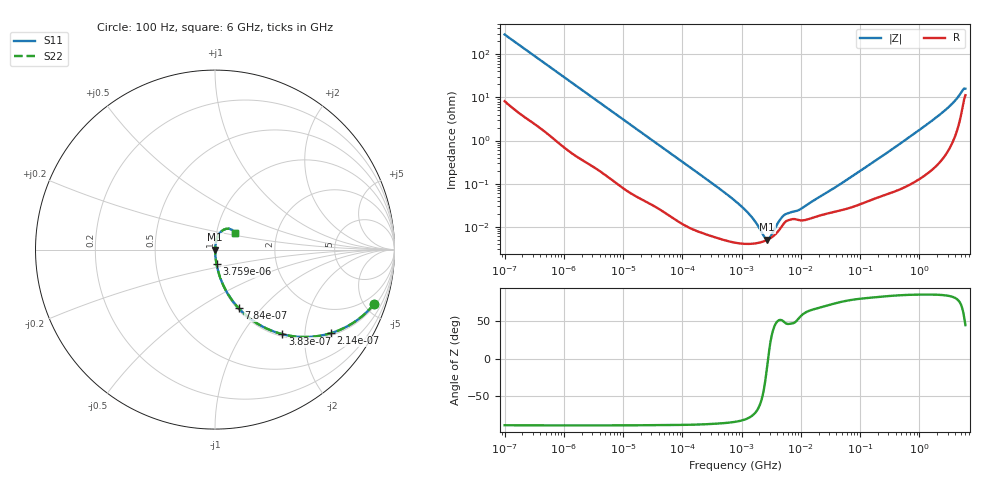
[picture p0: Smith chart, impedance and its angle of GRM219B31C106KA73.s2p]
!Murata Part Number: GRM219B31C106KA73
!These Parameters are Measured in Series Mode Connection
!Data Generated on Mar 30, 2021
!  o--ll--o
!Port1  Port2
!  o------o
!Operation Temp=25[degC], DC Bias Voltage=0[V]
!Freq. Start=100[Hz] Stop=6[GHz] 401[Steps]
# Hz S RI R 50
!Freq.(Hz) S11(Real) S11(Imag) S21(Real) S21(Imag) S12(Real) S12(Imag) S22(Real) S22(Imag)
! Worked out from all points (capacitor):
!   401 points, 100 Hz to 6 GHz, reference 50 ohm
!   read as one part in series: C = 5.49 uF near 109 Hz
!   lowest |Z| = 5.02 mohm at 2.714 MHz (marker M1)
!   series resonance near 2.8 MHz, so ESL is about 590 pH
!   S11 on the Smith chart (normalised r, x): 100 Hz: 1.16, -5.77; 214 Hz: 1.07, -2.72; 383 Hz: 1.04, -1.54; 784 Hz: 1.02, -0.76; 3.759 kHz: 1.00, -0.16; 6 GHz: 1.22, +0.23
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100  0.886 -0.304  0.114 0.304  0.114 0.304  0.886 -0.304
150  0.7839 -0.3986  0.2161 0.3986  0.2161 0.3986  0.7839 -0.3986
214  0.6462 -0.4653  0.3538 0.4653  0.3538 0.4653  0.6462 -0.4653
383  0.3746 -0.4711  0.6254 0.4711  0.6254 0.4711  0.3746 -0.4711
784  0.1321 -0.3268  0.8679 0.3268  0.8679 0.3268  0.1321 -0.3268
2008  0.0254 -0.1458  0.9746 0.1458  0.9746 0.1458  0.0254 -0.1458
3759  0.00857 -0.0802  0.9914 0.0802  0.9914 0.0802  0.00857 -0.0802
40335  0.00032 -0.00785  0.9997 0.00785  0.9997 0.00785  0.00032 -0.00785
774597  4.28e-05 -0.000398  1 0.000398  1 0.000398  4.28e-05 -0.000398
1267578  4e-05 -0.000211  1 0.000211  1 0.000211  4e-05 -0.000211
1896632  4.21e-05 -9.62e-05  1 9.62e-05  1 9.62e-05  4.21e-05 -9.62e-05
2074311  4.33e-05 -7.34e-05  1 7.34e-05  1 7.34e-05  4.33e-05 -7.34e-05
2713602  4.96e-05 -7.6e-06  1 7.6e-06  1 7.6e-06  4.96e-05 -7.6e-06
3549919  6.3e-05 5.83e-05  0.9999 -5.83e-05  0.9999 -5.83e-05  6.3e-05 5.83e-05
5311619  0.000125 0.000143  0.9999 -0.000143  0.9999 -0.000143  0.000125 0.000143
9506416  0.000141 0.000204  0.9999 -0.000204  0.9999 -0.000204  0.000141 0.000204
1.555665e7  0.00016 0.000353  0.9998 -0.000353  0.9998 -0.000353  0.00016 0.000353
3.124326e8  0.000624 0.00563  0.9994 -0.00563  0.9994 -0.00563  0.000624 0.00563
2.240541e9  0.00477 0.0399  0.9952 -0.0399  0.9952 -0.0399  0.00477 0.0399
4.193612e9  0.0221 0.0858  0.9779 -0.0858  0.9779 -0.0858  0.0221 0.0858
5.245841e9  0.0612 0.1156  0.9388 -0.1156  0.9388 -0.1156  0.0612 0.1156
6e9  0.1102 0.0903  0.8898 -0.0903  0.8898 -0.0903  0.1102 0.0903
